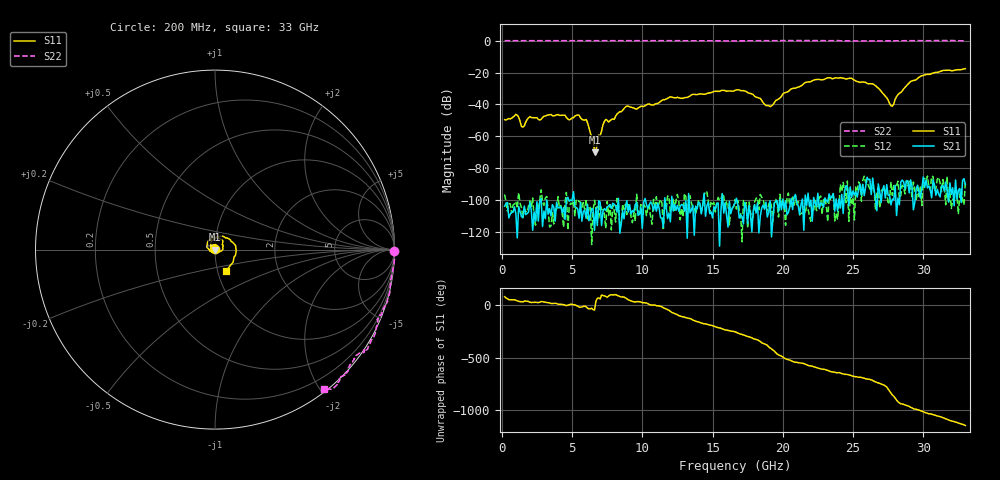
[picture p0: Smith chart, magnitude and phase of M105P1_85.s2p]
# GHZ S RI R 50
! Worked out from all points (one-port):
!   329 points, 200 MHz to 33 GHz, reference 50 ohm
!   lowest |S11| = -70.1 dB at 6.6 GHz (marker M1), VSWR 1.00, Z = 50 - j0.0221 ohm
!   |S11| at or under -10 dB: start of sweep to end of sweep
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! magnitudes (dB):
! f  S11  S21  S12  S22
! 200 MHz  -49.5  -103.9  -96.5  0.0
! 1 GHz  -46.2  -108.4  -100.9  0.0
! 1.5 GHz  -54.2  -111.0  -111.6  0.0
! 2 GHz  -47.6  -101.4  -100.5  0.0
! 5.7 GHz  -49.3  -113.3  -104.5  0.0
! 6 GHz  -49.4  -111.5  -99.4  0.0
! 6.5 GHz  -60.4  -106.0  -106.2  0.0
! 6.6 GHz  -70.1  -119.1  -100.2  0.0
! 6.9 GHz  -59.2  -100.5  -111.5  0.0
! 7.4 GHz  -49.4  -106.4  -117.8  -0.1
! 8 GHz  -49.4  -102.6  -106.4  0.0
! 8.9 GHz  -41.0  -100.5  -109.1  0.0
! 11.2 GHz  -38.8  -105.2  -101.9  0.0
! 16.6 GHz  -31.2  -101.9  -99.8  -0.1
! 19.1 GHz  -41.4  -100.5  -100.7  0.0
! 22.1 GHz  -25.1  -113.2  -106.2  0.1
! 26.4 GHz  -27.1  -86.2  -92.3  -0.1
! 27.6 GHz  -39.4  -97.1  -100.6  -0.1
! 27.8 GHz  -41.1  -99.3  -97.0  -0.1
! 28.8 GHz  -28.3  -88.3  -87.7  0.0
! 29.9 GHz  -21.9  -92.9  -103.5  0.0
! 33 GHz  -17.5  -90.4  -88.3  -0.1
